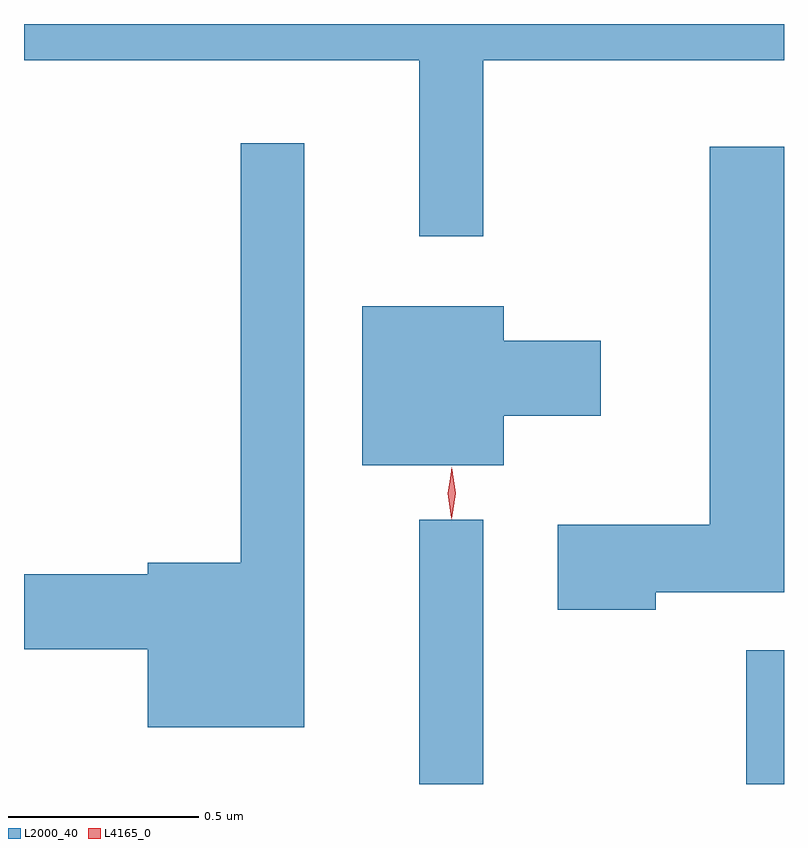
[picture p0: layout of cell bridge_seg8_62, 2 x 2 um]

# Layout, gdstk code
import gdstk
lib = gdstk.Library(unit=1e-6, precision=1e-09)
def R(c, l, rs):  # rectangles x0, y0, x1, y1
    for r in rs: c.add(gdstk.rectangle(r[:2], r[2:], *l))
def P(c, l, *ps):  # polygons
    for p in ps: c.add(gdstk.Polygon(p, *l))
L2000_40 = (2000, 40)
L4165_0 = (4165, 0)

bridge_seg8_62 = lib.new_cell('bridge_seg8_62')
R(bridge_seg8_62, L2000_40, [(1488.811,1936.632,1488.979,1937.328), (1489.671,1936.632,1489.771,1936.984)])
P(bridge_seg8_62, L2000_40, [(1488.979,1938.536),(1489.771,1938.536),(1489.771,1938.632),(1487.771,1938.632),(1487.771,1938.536),(1488.811,1938.536),(1488.811,1938.073),(1488.979,1938.073)],
  [(1488.509,1938.318),(1488.341,1938.318),(1488.341,1937.214),(1488.096,1937.214),(1488.096,1937.184),(1487.771,1937.184),(1487.771,1936.986),(1488.096,1936.986),(1488.096,1936.781),(1488.509,1936.781)],
  [(1489.434,1937.136),(1489.771,1937.136),(1489.771,1938.309),(1489.576,1938.309),(1489.576,1937.314),(1489.176,1937.314),(1489.176,1937.091),(1489.434,1937.091)],
  [(1489.034,1937.601),(1489.289,1937.601),(1489.289,1937.799),(1489.034,1937.799),(1489.034,1937.889),(1488.661,1937.889),(1488.661,1937.471),(1489.034,1937.471)])
P(bridge_seg8_62, L4165_0, [(1488.895,1937.333),(1488.895,1937.333),(1488.886,1937.397),(1488.897,1937.46),(1488.897,1937.46),(1488.898,1937.46),(1488.906,1937.396),(1488.896,1937.333)],
  [(1488.897,1937.329),(1488.896,1937.33),(1488.887,1937.397),(1488.896,1937.465),(1488.897,1937.466),(1488.897,1937.465),(1488.907,1937.397),(1488.897,1937.33)])

lib.write_gds('bridge_seg8_62.gds')
